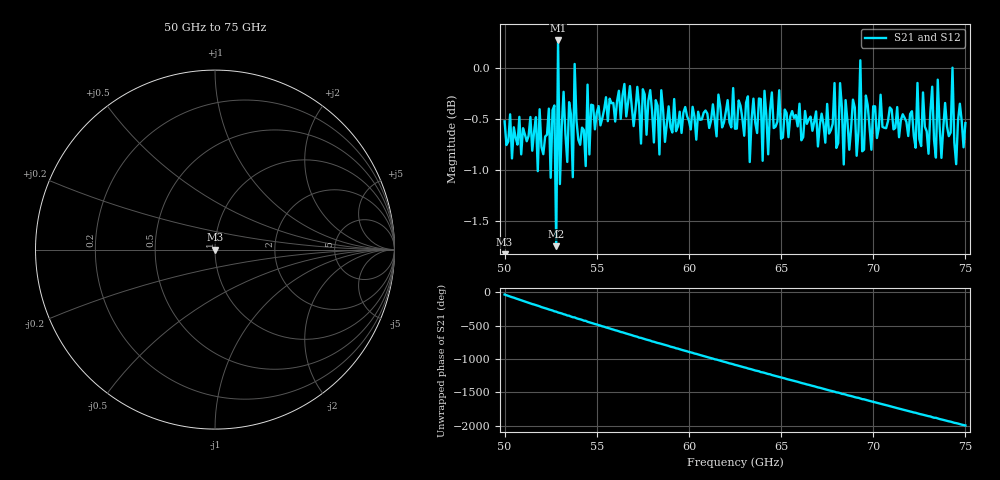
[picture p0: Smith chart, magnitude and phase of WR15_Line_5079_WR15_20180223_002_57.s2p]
# GHZ S RI R 50
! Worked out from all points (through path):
!   251 points, 50 GHz to 75 GHz, reference 50 ohm
!   highest |S21| = 0.27 dB at 52.9 GHz (marker M1); lowest = -1.7 dB at 52.8 GHz (marker M2)
!   lowest |S11| = - dB at 50 GHz (marker M3), VSWR 1.00, Z = 50 + j3.78e-15 ohm
!   |S11| at or under -10 dB: start of sweep to end of sweep
!   |S22| runs from - to - dB; largest |S21 - S12| = 2.1e-15
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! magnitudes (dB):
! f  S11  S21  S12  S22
! 50 GHz  -  -0.5  -0.5  -
! 51.8 GHz  -  -1.0  -1.0  -
! 52.4 GHz  -  -0.4  -0.4  -
! 52.5 GHz  -  -1.1  -1.1  -
! 52.7 GHz  -  -0.4  -0.4  -
! 52.8 GHz  -  -1.7  -1.7  -
! 52.9 GHz  -  0.3  0.3  -
! 53 GHz  -  -1.1  -1.1  -
! 53.2 GHz  -  -0.2  -0.2  -
! 53.7 GHz  -  -1.1  -1.1  -
! 53.8 GHz  -  0.0  0.0  -
! 54.2 GHz  -  -0.6  -0.6  -
! 57.9 GHz  -  -0.2  -0.2  -
! 58.4 GHz  -  -0.8  -0.8  -
! 58.5 GHz  -  -0.2  -0.2  -
! 62.5 GHz  -  -0.6  -0.6  -
! 66.7 GHz  -  -0.6  -0.6  -
! 69.1 GHz  -  -0.9  -0.9  -
! 69.3 GHz  -  0.1  0.1  -
! 69.4 GHz  -  -0.8  -0.8  -
! 70.9 GHz  -  -0.4  -0.4  -
! 75 GHz  -  -0.5  -0.5  -
